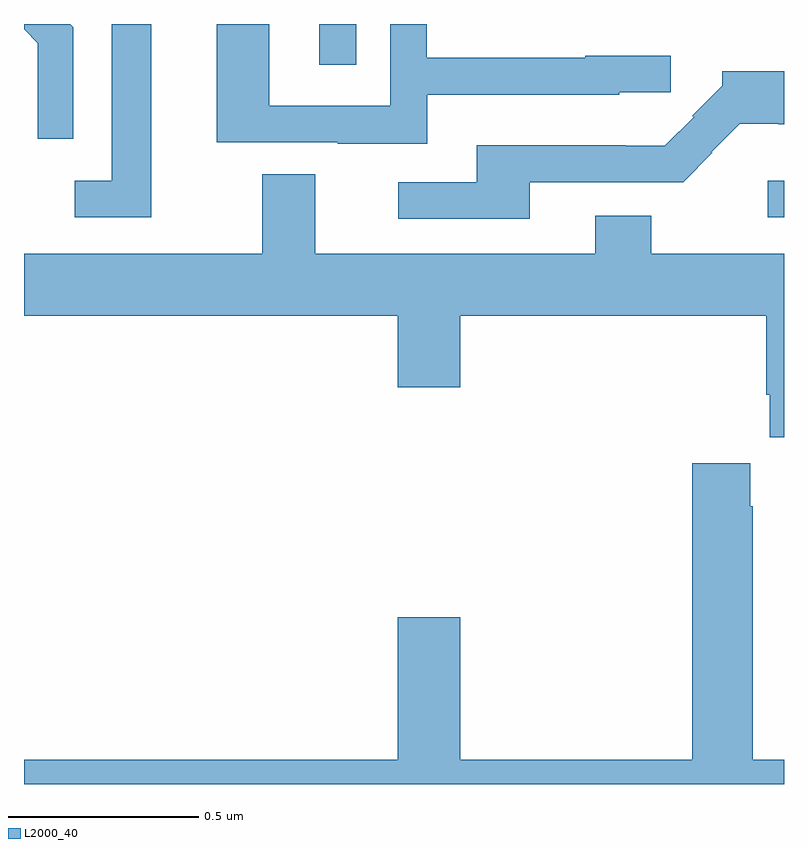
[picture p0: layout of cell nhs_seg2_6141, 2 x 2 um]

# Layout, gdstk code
import gdstk
lib = gdstk.Library(unit=1e-6, precision=1e-09)
def R(c, l, rs):  # rectangles x0, y0, x1, y1
    for r in rs: c.add(gdstk.rectangle(r[:2], r[2:], *l))
def P(c, l, *ps):  # polygons
    for p in ps: c.add(gdstk.Polygon(p, *l))
L2000_40 = (2000, 40)

nhs_seg2_6141 = lib.new_cell('nhs_seg2_6141')
R(nhs_seg2_6141, L2000_40, [(189.957,585.291,190,585.388), (188.777,585.693,188.874,585.8)])
P(nhs_seg2_6141, L2000_40, [(188.335,585.8),(188.231,585.8),(188.231,585.387),(188.133,585.387),(188.133,585.291),(188.335,585.291)],
  [(189.061,585.614),(189.567,585.614),(189.567,585.621),(189.702,585.621),(189.702,585.717),(189.477,585.717),(189.477,585.711),(189.06,585.711),(189.06,585.8),(188.964,585.8),(188.964,585.585),(188.646,585.585),(188.646,585.8),(188.507,585.8),(188.507,585.489),(188.825,585.489),(188.825,585.485),(189.061,585.485)],
  [(188.13,585.792),(188.122,585.8),(188,585.8),(188,585.786),(188.036,585.75),(188.036,585.498),(188.13,585.498)],
  [(189.331,585.384),(189.735,585.384),(189.811,585.461),(189.809,585.463),(189.883,585.537),(189.985,585.537),(189.985,585.536),(190,585.536),(190,585.676),(189.838,585.676),(189.838,585.637),(189.759,585.558),(189.762,585.555),(189.686,585.479),(189.584,585.479),(189.584,585.481),(189.191,585.481),(189.191,585.384),(188.985,585.384),(188.985,585.288),(189.331,585.288)],
  [(190,585.196),(189.651,585.196),(189.651,585.295),(189.503,585.295),(189.503,585.196),(188.767,585.196),(188.767,585.404),(188.627,585.404),(188.627,585.196),(188,585.196),(188,585.032),(188.984,585.032),(188.984,584.844),(189.148,584.844),(189.148,585.032),(189.953,585.032),(189.953,584.824),(189.962,584.824),(189.962,584.712),(190,584.712)],
  [(190,583.864),(189.918,583.864),(189.918,584.531),(189.911,584.531),(189.911,584.644),(189.758,584.644),(189.758,583.864),(189.148,583.864),(189.148,584.239),(188.984,584.239),(188.984,583.864),(188,583.864),(188,583.8),(190,583.8)])

lib.write_gds('nhs_seg2_6141.gds')
